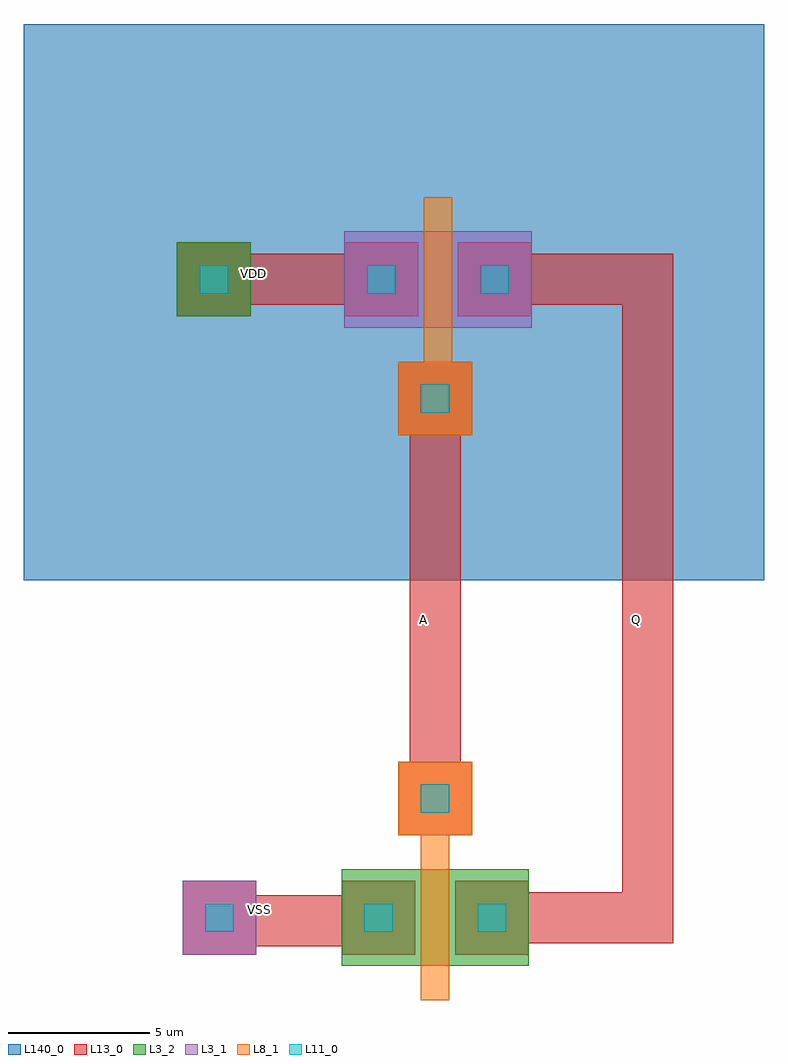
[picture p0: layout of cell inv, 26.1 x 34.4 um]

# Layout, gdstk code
import gdstk
lib = gdstk.Library(unit=1e-6, precision=1e-07)
def R(c, l, rs):  # rectangles x0, y0, x1, y1
    for r in rs: c.add(gdstk.rectangle(r[:2], r[2:], *l))
L3_1 = (3, 1)
L3_2 = (3, 2)
L8_1 = (8, 1)
L11_0 = (11, 0)
L13_0 = (13, 0)
L140_0 = (140, 0)

fet_n = lib.new_cell('fet_n')
R(fet_n, L3_2, [(-3.3,-1.7,3.3,1.7)])
R(fet_n, L11_0, [(-2.5,-0.5,-1.5,0.5), (1.5,-0.5,2.5,0.5)])
R(fet_n, L13_0, [(-3.3,-1.3,-0.7,1.3), (0.7,-1.3,3.3,1.3)])
fet_n.add(gdstk.FlexPath([(0,-2.9),(0,2.9)], 1, ends="flush", simple_path=True, layer=8, datatype=1))  # L8_1

fet_p = lib.new_cell('fet_p')
R(fet_p, L3_1, [(-3.3,-1.7,3.3,1.7)])
R(fet_p, L11_0, [(-2.5,-0.5,-1.5,0.5), (1.5,-0.5,2.5,0.5)])
R(fet_p, L13_0, [(-3.3,-1.3,-0.7,1.3), (0.7,-1.3,3.3,1.3)])
fet_p.add(gdstk.FlexPath([(0,-2.9),(0,2.9)], 1, ends="flush", simple_path=True, layer=8, datatype=1))  # L8_1

cont_g = lib.new_cell('cont_g')
R(cont_g, L8_1, [(-1.3,-1.3,1.3,1.3)])
R(cont_g, L11_0, [(-0.5,-0.5,0.5,0.5)])
R(cont_g, L13_0, [(-1.3,-1.3,1.3,1.3)])

cont_n = lib.new_cell('cont_n')
R(cont_n, L3_2, [(-1.3,-1.3,1.3,1.3)])
R(cont_n, L11_0, [(-0.5,-0.5,0.5,0.5)])
R(cont_n, L13_0, [(-1.3,-1.3,1.3,1.3)])

cont_p = lib.new_cell('cont_p')
R(cont_p, L3_1, [(-1.3,-1.3,1.3,1.3)])
R(cont_p, L11_0, [(-0.5,-0.5,0.5,0.5)])
R(cont_p, L13_0, [(-1.3,-1.3,1.3,1.3)])

inv = lib.new_cell('inv')
R(inv, L140_0, [(-17.2,8.1,8.9,27.7)])
inv.add(gdstk.FlexPath([(-2.7,14.5),(-2.7,0.4)], 1.8, ends="flush", simple_path=True, layer=13, datatype=0))  # L13_0
inv.add(gdstk.FlexPath([(-4.6,-3.9),(-10.4,-3.9)], 1.8, ends="flush", simple_path=True, layer=13, datatype=0))  # L13_0
inv.add(gdstk.FlexPath([(-10.5,18.7),(-4.4,18.7)], 1.8, ends="flush", simple_path=True, layer=13, datatype=0))  # L13_0
inv.add(gdstk.FlexPath([(-0.6,18.7),(4.8,18.7),(4.8,-3.8),(-0.7,-3.8)], 1.8, ends="flush", simple_path=True, layer=13, datatype=0))  # L13_0
inv.add(gdstk.Reference(fet_n, (-2.7,-3.8)))
inv.add(gdstk.Reference(fet_p, (-2.6,18.7)))
inv.add(gdstk.Reference(cont_g, (-2.7,14.5)))
inv.add(gdstk.Reference(cont_g, (-2.7,0.4)))
inv.add(gdstk.Reference(cont_n, (-10.5,18.7)))
inv.add(gdstk.Reference(cont_p, (-10.3,-3.8)))
inv.add(gdstk.Label('VDD', (-9.1,18.9), layer=13, texttype=0))
inv.add(gdstk.Label('VSS', (-8.9,-3.5), layer=13, texttype=0))
inv.add(gdstk.Label('Q', (4.4,6.7), layer=13, texttype=0))
inv.add(gdstk.Label('A', (-3.1,6.7), layer=13, texttype=0))

lib.write_gds('inv.gds')
